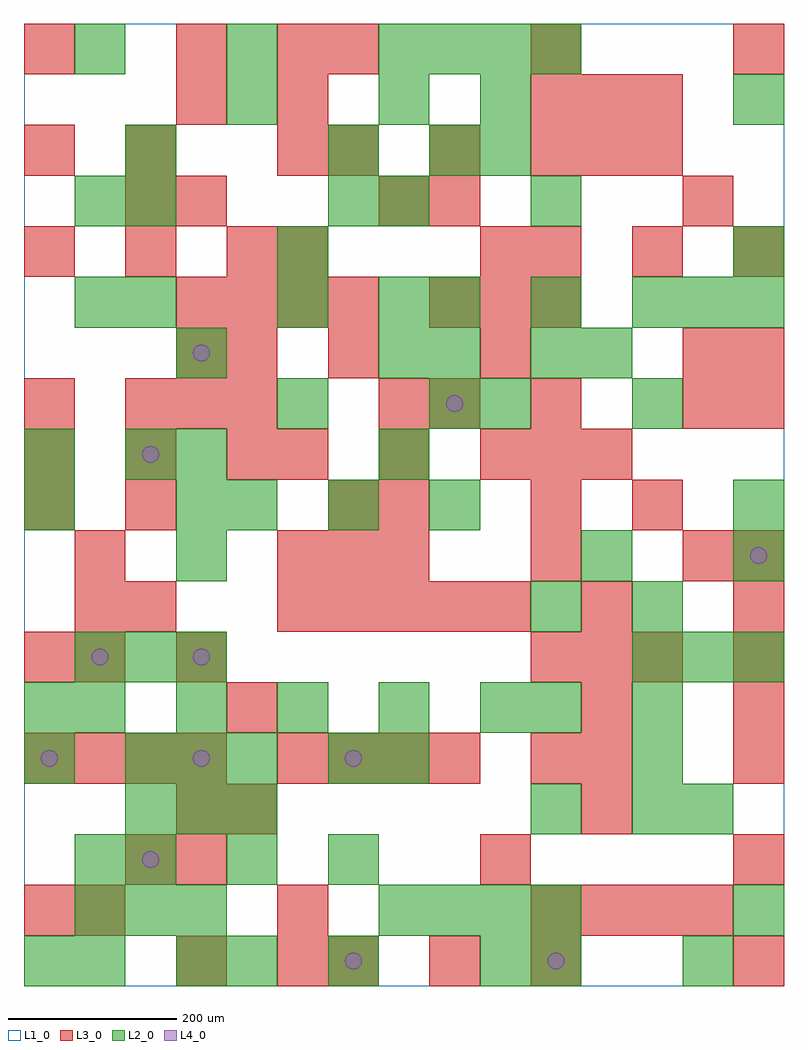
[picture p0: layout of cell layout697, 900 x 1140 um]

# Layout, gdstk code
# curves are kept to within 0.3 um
import gdstk
lib = gdstk.Library(unit=1e-6, precision=1e-09)
def R(c, l, rs):  # rectangles x0, y0, x1, y1
    for r in rs: c.add(gdstk.rectangle(r[:2], r[2:], *l))
def A(c, l, x, y, w, h, nx, ny, dx, dy):  # array of equal rectangles
    R(c, l, [(x+i*dx, y+j*dy, x+i*dx+w, y+j*dy+h) for i in range(nx) for j in range(ny)])
def P(c, l, *ps):  # polygons
    for p in ps: c.add(gdstk.Polygon(p, *l))
L1_0 = (1, 0)
L2_0 = (2, 0)
L3_0 = (3, 0)
L4_0 = (4, 0)

layout697 = lib.new_cell('layout697')
R(layout697, L1_0, [(0,0,900,1140)])
A(layout697, L2_0, 60, 60, 60, 60, 3, 2, 60, 300)
A(layout697, L2_0, 420, 60, 60, 60, 4, 1, 60, 0)
A(layout697, L2_0, 120, 120, 60, 60, 3, 1, 120, 0)
A(layout697, L2_0, 120, 180, 60, 60, 3, 2, 60, 60)
A(layout697, L2_0, 600, 180, 60, 60, 1, 3, 0, 120)
A(layout697, L2_0, 720, 180, 60, 60, 1, 3, 0, 60)
A(layout697, L2_0, 60, 300, 60, 60, 5, 1, 120, 0)
A(layout697, L2_0, 720, 360, 60, 60, 3, 1, 60, 0)
A(layout697, L2_0, 180, 480, 60, 60, 1, 3, 0, 60)
A(layout697, L2_0, 240, 540, 60, 60, 3, 1, 120, 0)
A(layout697, L2_0, 420, 780, 60, 60, 1, 3, 0, 120)
A(layout697, L2_0, 480, 780, 60, 60, 3, 1, 120, 0)
A(layout697, L2_0, 60, 1080, 60, 60, 3, 1, 180, 0)
A(layout697, L2_0, 480, 1080, 60, 60, 3, 1, 60, 0)
R(layout697, L2_0, [(0,0,60,60), (60,0,120,60), (180,0,240,60), (240,0,300,60), (360,0,420,60), (540,0,600,60), (600,0,660,60), (780,0,840,60), (840,60,900,120), (60,120,120,180), (780,180,840,240), (0,240,60,300), (360,240,420,300), (420,240,480,300), (0,300,60,360), (720,420,780,480), (660,480,720,540), (840,480,900,540), (0,540,60,600), (840,540,900,600), (0,600,60,660), (120,600,180,660), (420,600,480,660), (300,660,360,720), (480,660,540,720), (540,660,600,720), (720,660,780,720), (180,720,240,780), (420,720,480,780), (480,720,540,780), (600,720,660,780), (660,720,720,780), (60,780,120,840), (120,780,180,840), (300,780,360,840), (780,780,840,840), (840,780,900,840), (300,840,360,900), (840,840,900,900), (60,900,120,960), (120,900,180,960), (360,900,420,960), (600,900,660,960), (120,960,180,1020), (360,960,420,1020), (480,960,540,1020), (540,960,600,1020), (240,1020,300,1080), (540,1020,600,1080), (840,1020,900,1080)])
A(layout697, L3_0, 360, 0, 60, 60, 3, 2, 120, 960)
A(layout697, L3_0, 840, 0, 60, 60, 1, 3, 0, 120)
A(layout697, L3_0, 600, 60, 60, 60, 4, 1, 60, 0)
A(layout697, L3_0, 660, 180, 60, 60, 1, 3, 0, 60)
A(layout697, L3_0, 0, 240, 60, 60, 4, 1, 60, 0)
A(layout697, L3_0, 300, 240, 60, 60, 4, 1, 60, 0)
A(layout697, L3_0, 840, 300, 60, 60, 1, 4, 0, 60)
A(layout697, L3_0, 60, 360, 60, 60, 1, 3, 0, 60)
A(layout697, L3_0, 600, 360, 60, 60, 3, 2, 60, 660)
A(layout697, L3_0, 300, 420, 60, 60, 5, 1, 60, 0)
A(layout697, L3_0, 300, 480, 60, 60, 3, 1, 60, 0)
A(layout697, L3_0, 600, 480, 60, 60, 1, 4, 0, 60)
A(layout697, L3_0, 0, 600, 60, 60, 3, 2, 120, 240)
A(layout697, L3_0, 300, 600, 60, 60, 3, 1, 120, 0)
A(layout697, L3_0, 120, 660, 60, 60, 3, 1, 60, 0)
A(layout697, L3_0, 180, 780, 60, 60, 4, 1, 60, 0)
A(layout697, L3_0, 480, 780, 60, 60, 3, 1, 60, 0)
A(layout697, L3_0, 600, 840, 60, 60, 3, 1, 120, 0)
A(layout697, L3_0, 300, 960, 60, 60, 1, 3, 0, 60)
A(layout697, L3_0, 360, 1080, 60, 60, 3, 1, 240, 0)
R(layout697, L3_0, [(180,0,240,60), (300,0,360,60), (0,60,60,120), (60,60,120,120), (300,60,360,120), (120,120,180,180), (180,120,240,180), (540,120,600,180), (180,180,240,240), (240,180,300,240), (600,240,660,300), (240,300,300,360), (0,360,60,420), (180,360,240,420), (120,420,180,480), (660,420,720,480), (780,480,840,540), (0,540,60,600), (120,540,180,600), (360,540,420,600), (420,540,480,600), (720,540,780,600), (660,600,720,660), (0,660,60,720), (420,660,480,720), (480,660,540,720), (780,660,840,720), (840,660,900,720), (180,720,240,780), (240,720,300,780), (360,720,420,780), (540,720,600,780), (780,720,840,780), (840,720,900,780), (300,840,360,900), (540,840,600,900), (120,900,180,960), (180,900,240,960), (420,900,480,960), (480,900,540,960), (780,900,840,960), (0,960,60,1020), (120,960,180,1020), (660,960,720,1020), (720,960,780,1020), (180,1020,240,1080), (0,1080,60,1140), (180,1080,240,1140)])
P(layout697, L4_0, [(40,270),(39.239,273.827),(37.071,277.071),(33.827,279.239),(30,280),(26.173,279.239),(22.929,277.071),(20.761,273.827),(20,270),(20.761,266.173),(22.929,262.929),(26.173,260.761),(30,260),(33.827,260.761),(37.071,262.929),(39.239,266.173)],
  [(100,390),(99.239,393.827),(97.071,397.071),(93.827,399.239),(90,400),(86.173,399.239),(82.929,397.071),(80.761,393.827),(80,390),(80.761,386.173),(82.929,382.929),(86.173,380.761),(90,380),(93.827,380.761),(97.071,382.929),(99.239,386.173)],
  [(160,150),(159.239,153.827),(157.071,157.071),(153.827,159.239),(150,160),(146.173,159.239),(142.929,157.071),(140.761,153.827),(140,150),(140.761,146.173),(142.929,142.929),(146.173,140.761),(150,140),(153.827,140.761),(157.071,142.929),(159.239,146.173)],
  [(160,630),(159.239,633.827),(157.071,637.071),(153.827,639.239),(150,640),(146.173,639.239),(142.929,637.071),(140.761,633.827),(140,630),(140.761,626.173),(142.929,622.929),(146.173,620.761),(150,620),(153.827,620.761),(157.071,622.929),(159.239,626.173)],
  [(220,270),(219.239,273.827),(217.071,277.071),(213.827,279.239),(210,280),(206.173,279.239),(202.929,277.071),(200.761,273.827),(200,270),(200.761,266.173),(202.929,262.929),(206.173,260.761),(210,260),(213.827,260.761),(217.071,262.929),(219.239,266.173)],
  [(220,390),(219.239,393.827),(217.071,397.071),(213.827,399.239),(210,400),(206.173,399.239),(202.929,397.071),(200.761,393.827),(200,390),(200.761,386.173),(202.929,382.929),(206.173,380.761),(210,380),(213.827,380.761),(217.071,382.929),(219.239,386.173)],
  [(220,750),(219.239,753.827),(217.071,757.071),(213.827,759.239),(210,760),(206.173,759.239),(202.929,757.071),(200.761,753.827),(200,750),(200.761,746.173),(202.929,742.929),(206.173,740.761),(210,740),(213.827,740.761),(217.071,742.929),(219.239,746.173)],
  [(400,30),(399.239,33.827),(397.071,37.071),(393.827,39.239),(390,40),(386.173,39.239),(382.929,37.071),(380.761,33.827),(380,30),(380.761,26.173),(382.929,22.929),(386.173,20.761),(390,20),(393.827,20.761),(397.071,22.929),(399.239,26.173)],
  [(400,270),(399.239,273.827),(397.071,277.071),(393.827,279.239),(390,280),(386.173,279.239),(382.929,277.071),(380.761,273.827),(380,270),(380.761,266.173),(382.929,262.929),(386.173,260.761),(390,260),(393.827,260.761),(397.071,262.929),(399.239,266.173)],
  [(520,690),(519.239,693.827),(517.071,697.071),(513.827,699.239),(510,700),(506.173,699.239),(502.929,697.071),(500.761,693.827),(500,690),(500.761,686.173),(502.929,682.929),(506.173,680.761),(510,680),(513.827,680.761),(517.071,682.929),(519.239,686.173)],
  [(640,30),(639.239,33.827),(637.071,37.071),(633.827,39.239),(630,40),(626.173,39.239),(622.929,37.071),(620.761,33.827),(620,30),(620.761,26.173),(622.929,22.929),(626.173,20.761),(630,20),(633.827,20.761),(637.071,22.929),(639.239,26.173)],
  [(880,510),(879.239,513.827),(877.071,517.071),(873.827,519.239),(870,520),(866.173,519.239),(862.929,517.071),(860.761,513.827),(860,510),(860.761,506.173),(862.929,502.929),(866.173,500.761),(870,500),(873.827,500.761),(877.071,502.929),(879.239,506.173)])

lib.write_gds('layout697.gds')
